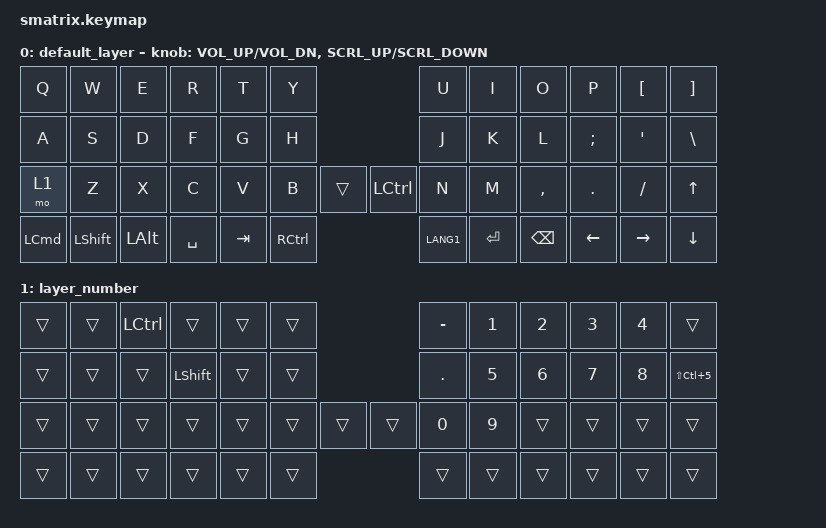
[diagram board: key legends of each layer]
#define ZMK_POINTING_DEFAULT_MOVE_VAL 800
#define ZMK_POINTING_DEFAULT_SCRL_VAL 120

#include <input/processors.dtsi>
#include <zephyr/dt-bindings/input/input-event-codes.h>
#include <behaviors.dtsi>
#include <dt-bindings/zmk/keys.h>
#include <dt-bindings/zmk/pointing.h>

&mt {
    flavor = "balanced";
    quick-tap-ms = <0>;
};

&msc {
    delay-ms = <0>;
    trigger-period-ms = <10>;
    time-to-max-speed-ms = <0>;
    acceleration-exponent = <0>;
};

/ {
    input_processors {
        zip_wheel_scaler: zip_wheel_scaler {
            compatible = "zmk,input-processor-scaler";
            #input-processor-cells = <2>;
            type = <INPUT_EV_REL>;
            codes = <INPUT_REL_WHEEL>;
            track-remainders;
        };
    };
};

&msc_input_listener {
    warp {
        layers = <0>;
        input-processors = <&zip_wheel_scaler 4 1>;
    };

    precision {
        layers = <1>;
        input-processors = <&zip_wheel_scaler 1 2>;
    };
};

/ {
    behaviors {
        rot_kp: sensor_rotate_kp {
            compatible = "zmk,behavior-sensor-rotate-var";
            #sensor-binding-cells = <2>;
            bindings = <&kp>, <&kp>;
        };

        mouse_click: mouse_button_kp {
            compatible = "zmk,behavior-sensor-rotate-var";
            #sensor-binding-cells = <2>;
            bindings = <&mkp>, <&mkp>;
        };

        mouse_scrl: mouse_wheel_scrl {
            compatible = "zmk,behavior-sensor-rotate-var";
            #sensor-binding-cells = <2>;
            bindings = <&msc>, <&msc>;

            tap-ms = <10>;
        };

        comma_en: commaenter {
            compatible = "zmk,behavior-macro";
            #binding-cells = <0>;
            bindings = <&kp LS(COMMA) &kp ENTER>;
            label = "COMMAENTER";
        };

        period_en: period_enter {
            compatible = "zmk,behavior-macro";
            #binding-cells = <0>;
            bindings = <&kp LS(PERIOD) &kp ENTER>;
            label = "PERIOD_ENTER";
        };
    };

    macros {
    };

    keymap {
        compatible = "zmk,keymap";

        default_layer {
            bindings = <
&kp Q             &kp W           &kp E         &kp R      &kp T    &kp Y                                          &kp U      &kp I      &kp O          &kp P       &kp LEFT_BRACKET  &kp RIGHT_BRACKET
&kp A             &kp S           &kp D         &kp F      &kp G    &kp H                                          &kp J      &kp K      &kp L          &kp SEMI    &kp SINGLE_QUOTE  &kp BACKSLASH
&mo 1             &kp Z           &kp X         &kp C      &kp V    &kp B              &trans    &kp LEFT_CONTROL  &kp N      &kp M      &kp COMMA      &kp PERIOD  &kp SLASH         &kp UP_ARROW
&kp LEFT_COMMAND  &kp LEFT_SHIFT  &kp LEFT_ALT  &kp SPACE  &kp TAB  &kp RIGHT_CONTROL                              &kp LANG1  &kp ENTER  &kp BACKSPACE  &kp LEFT    &kp RIGHT_ARROW   &kp DOWN_ARROW
            >;

            sensor-bindings = <&rot_kp C_VOL_UP C_VOL_DN    &mouse_scrl SCRL_UP SCRL_DOWN>;
        };

        layer_number {
            bindings = <
&trans  &trans  &kp LEFT_CONTROL  &trans          &trans  &trans                    &kp MINUS   &kp NUMBER_1  &kp NUMBER_2  &kp NUMBER_3  &kp NUMBER_4  &trans
&trans  &trans  &trans            &kp LEFT_SHIFT  &trans  &trans                    &kp PERIOD  &kp N5        &kp NUMBER_6  &kp N7        &kp N8        &kp LS(LC(N5))
&trans  &trans  &trans            &trans          &trans  &trans  &trans    &trans  &kp N0      &kp N9        &trans        &trans        &trans        &trans
&trans  &trans  &trans            &trans          &trans  &trans                    &trans      &trans        &trans        &trans        &trans        &trans
            >;
        };
    };
};
